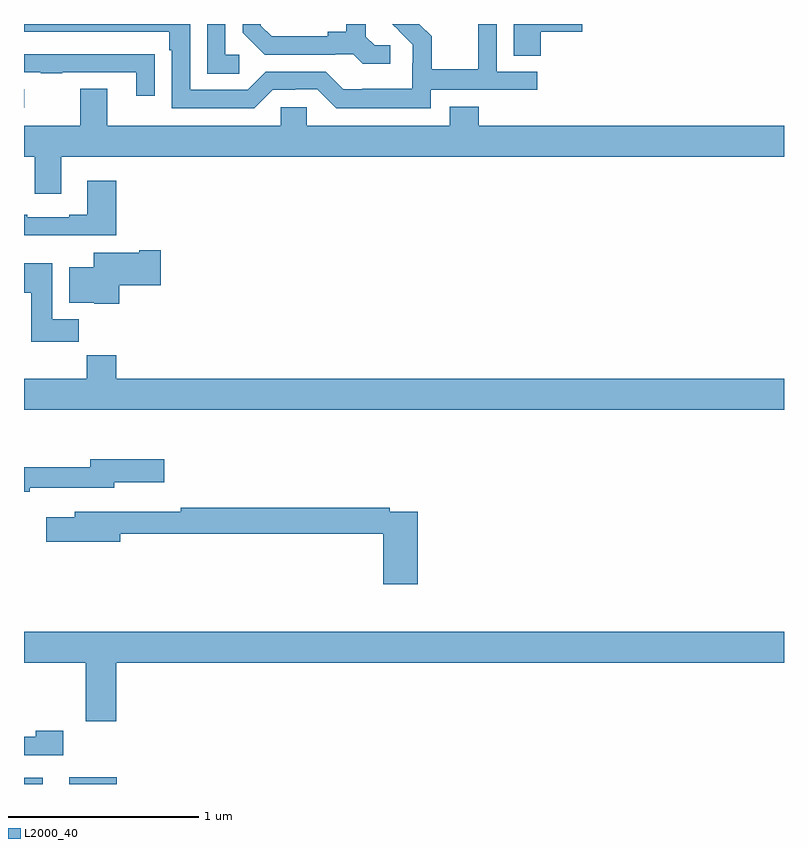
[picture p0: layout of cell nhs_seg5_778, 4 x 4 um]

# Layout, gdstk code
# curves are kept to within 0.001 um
import gdstk
lib = gdstk.Library(unit=1e-6, precision=1e-09)
def R(c, l, rs):  # rectangles x0, y0, x1, y1
    for r in rs: c.add(gdstk.rectangle(r[:2], r[2:], *l))
def P(c, l, *ps):  # polygons
    for p in ps: c.add(gdstk.Polygon(p, *l))
L2000_40 = (2000, 40)

nhs_seg5_778 = lib.new_cell('nhs_seg5_778')
R(nhs_seg5_778, L2000_40, [(161,846.799,161.098,846.832), (161.237,846.799,161.488,846.835), (161,850.359,161.002,850.455)])
P(nhs_seg5_778, L2000_40, [(162.928,850.686),(162.846,850.686),(162.799,850.733),(162.799,850.799),(162.695,850.799),(162.695,850.757),(162.599,850.757),(162.599,850.734),(162.304,850.734),(162.247,850.791),(162.247,850.799),(162.15,850.799),(162.15,850.754),(162.266,850.638),(162.638,850.638),(162.638,850.641),(162.732,850.641),(162.784,850.589),(162.928,850.589)],
  [(162.133,850.638),(162.06,850.638),(162.06,850.799),(161.964,850.799),(161.964,850.537),(162.133,850.537)],
  [(163.14,850.452),(163.702,850.452),(163.702,850.548),(163.488,850.548),(163.488,850.799),(163.392,850.799),(163.392,850.784),(163.39,850.784),(163.39,850.561),(163.145,850.561),(163.145,850.735),(163.081,850.799),(162.939,850.799),(163.046,850.69),(163.046,850.593),(163.044,850.593),(163.044,850.459),(162.781,850.459),(162.781,850.455),(162.681,850.455),(162.588,850.548),(162.273,850.548),(162.177,850.452),(161.874,850.452),(161.874,850.799),(161,850.799),(161,850.758),(161.765,850.758),(161.765,850.661),(161.778,850.661),(161.778,850.356),(162.213,850.356),(162.309,850.452),(162.428,850.452),(162.428,850.455),(162.543,850.455),(162.643,850.355),(163.14,850.355)],
  [(163.721,850.757),(163.939,850.757),(163.939,850.799),(163.577,850.799),(163.577,850.633),(163.721,850.633)],
  [(161.687,850.64),(161.585,850.64),(161.585,850.641),(161,850.641),(161,850.545),(161.089,850.545),(161.089,850.54),(161.201,850.54),(161.201,850.545),(161.591,850.545),(161.591,850.422),(161.687,850.422)],
  [(161.197,850.1),(165,850.1),(165,850.264),(163.394,850.264),(163.394,850.363),(163.241,850.363),(163.241,850.264),(162.489,850.264),(162.489,850.362),(162.351,850.362),(162.351,850.264),(161.437,850.264),(161.437,850.459),(161.297,850.459),(161.297,850.264),(161,850.264),(161,850.1),(161.057,850.1),(161.057,849.906),(161.197,849.906)],
  [(161.486,849.973),(161.333,849.973),(161.333,849.796),(161.237,849.796),(161.237,849.783),(161.017,849.783),(161.017,849.796),(161,849.796),(161,849.686),(161.486,849.686)],
  [(161.501,849.425),(161.719,849.425),(161.719,849.608),(161.606,849.608),(161.606,849.595),(161.366,849.595),(161.366,849.52),(161.237,849.52),(161.237,849.332),(161.37,849.332),(161.37,849.326),(161.501,849.326)],
  [(161.288,849.244),(161.149,849.244),(161.149,849.541),(161,849.541),(161,849.385),(161.039,849.385),(161.039,849.126),(161.288,849.126)],
  [(165,848.932),(161.486,848.932),(161.486,849.056),(161.329,849.056),(161.329,848.932),(161,848.932),(161,848.768),(165,848.768)],
  [(161.03,848.358),(161.476,848.358),(161.476,848.387),(161.737,848.387),(161.737,848.509),(161.348,848.509),(161.348,848.467),(161,848.467),(161,848.338),(161.03,848.338)],
  [(163.073,848.232),(162.926,848.232),(162.926,848.252),(161.824,848.252),(161.824,848.233),(161.267,848.233),(161.267,848.203),(161.118,848.203),(161.118,848.074),(161.506,848.074),(161.506,848.116),(162.89,848.116),(162.89,847.851),(163.073,847.851)],
  [(161.486,847.436),(165,847.436),(165,847.6),(161,847.6),(161,847.436),(161.326,847.436),(161.326,847.128),(161.486,847.128)],
  [(161.206,847.08),(161.061,847.08),(161.061,847.047),(161,847.047),(161,846.951),(161.206,846.951)])

lib.write_gds('nhs_seg5_778.gds')
